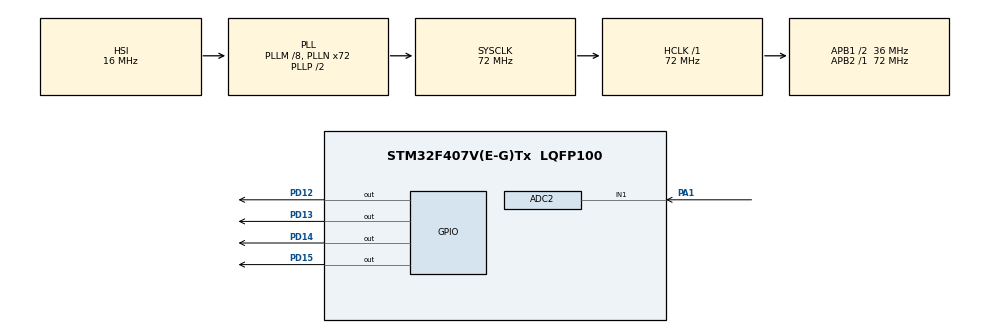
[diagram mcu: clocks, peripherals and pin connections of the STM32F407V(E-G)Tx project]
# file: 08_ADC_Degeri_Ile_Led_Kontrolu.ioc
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ADC2.Channel-0\#ChannelRegularConversion=ADC_CHANNEL_1
ADC2.ContinuousConvMode=ENABLE
ADC2.NbrOfConversionFlag=1
ADC2.Rank-0\#ChannelRegularConversion=1
ADC2.Resolution=ADC_RESOLUTION_8B
ADC2.SamplingTime-0\#ChannelRegularConversion=ADC_SAMPLETIME_112CYCLES
ADC2.ScanConvMode=ENABLE
Mcu.Family=STM32F4
Mcu.Name=STM32F407V(E-G)Tx
Mcu.Package=LQFP100
NVIC.PriorityGroup=NVIC_PRIORITYGROUP_4
PA1.Signal=ADCx_IN1
PD12.Signal=GPIO_Output
PD13.Signal=GPIO_Output
PD14.Signal=GPIO_Output
PD15.Signal=GPIO_Output
ProjectManager.HeapSize=0x200
ProjectManager.StackSize=0x400
ProjectManager.TargetToolchain=STM32CubeIDE
RCC.48MHZClocksFreq_Value=36000000
RCC.AHBFreq_Value=72000000
RCC.APB1CLKDivider=RCC_HCLK_DIV2
RCC.APB1Freq_Value=36000000
RCC.APB1TimFreq_Value=72000000
RCC.APB2Freq_Value=72000000
RCC.APB2TimFreq_Value=72000000
RCC.CortexFreq_Value=72000000
RCC.HCLKFreq_Value=72000000
RCC.HSE_VALUE=25000000
RCC.HSI_VALUE=16000000
RCC.LSE_VALUE=32768
RCC.PLLM=8
RCC.PLLN=72
RCC.SYSCLKFreq_VALUE=72000000
RCC.SYSCLKSource=RCC_SYSCLKSOURCE_PLLCLK
RCC.VCOOutputFreq_Value=144000000
SH.ADCx_IN1.0=ADC2_IN1,IN1
board=custom

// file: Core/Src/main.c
/* USER CODE BEGIN Header */
/**
  ******************************************************************************
  * @file           : main.c
  * @brief          : Main program body
  ******************************************************************************
  * @attention
  *
  * Copyright (c) 2025 STMicroelectronics.
  * All rights reserved.
  *
  * This software is licensed under terms that can be found in the LICENSE file
  * in the root directory of this software component.
  * If no LICENSE file comes with this software, it is provided AS-IS.
  *
  ******************************************************************************
  */
/* USER CODE END Header */
#include "main.h"

ADC_HandleTypeDef hadc2;

/* USER CODE BEGIN PV */
uint8_t analogValue=0;
/* USER CODE END PV */

void SystemClock_Config(void);
static void MX_GPIO_Init(void);
static void MX_ADC2_Init(void);

/* USER CODE BEGIN 0 */
uint8_t READ_ADC_Value(void)
{
	uint32_t adcVal=0;
	if(HAL_ADC_Start(&hadc2)==HAL_OK)
	{
	if(HAL_ADC_PollForConversion(&hadc2,1000)==HAL_OK)
	{
		adcVal=HAL_ADC_GetValue(&hadc2);
	}
	HAL_ADC_Stop(&hadc2);
}
	return adcVal;
}
/* USER CODE END 0 */

int main(void)
{

  /* MCU Configuration--------------------------------------------------------*/

  /* Reset of all peripherals, Initializes the Flash interface and the Systick. */
  HAL_Init();

  /* Configure the system clock */
  SystemClock_Config();

  /* Initialize all configured peripherals */
  MX_GPIO_Init();
  MX_ADC2_Init();

  /* Infinite loop */
  while (1)
  {

    /* USER CODE BEGIN 3 */
	  analogValue=READ_ADC_Value();
	  if(analogValue>=0 && analogValue<51)
	  {
		  HAL_GPIO_WritePin(GPIOD, GPIO_PIN_12|GPIO_PIN_13|GPIO_PIN_14|GPIO_PIN_15,GPIO_PIN_RESET);
	  }
	  else if (analogValue>=51 && analogValue<102)
	  {
		  HAL_GPIO_WritePin(GPIOD, GPIO_PIN_12,GPIO_PIN_SET);
		  HAL_GPIO_WritePin(GPIOD,GPIO_PIN_13|GPIO_PIN_14|GPIO_PIN_15,GPIO_PIN_RESET);
	  }
	  else if (analogValue>=102 && analogValue<153)
	 	  {
	 		  HAL_GPIO_WritePin(GPIOD, GPIO_PIN_12| GPIO_PIN_13,GPIO_PIN_SET);
	 		  HAL_GPIO_WritePin(GPIOD,GPIO_PIN_14|GPIO_PIN_15,GPIO_PIN_RESET);
	 	  }
	  else if (analogValue>=153 && analogValue<204)
	 	 	  {
	 	 		  HAL_GPIO_WritePin(GPIOD, GPIO_PIN_12 |GPIO_PIN_13|GPIO_PIN_14,GPIO_PIN_SET);
	 	 		  HAL_GPIO_WritePin(GPIOD,GPIO_PIN_15,GPIO_PIN_RESET);
	 	 	  }
	  else
	  {
		  HAL_GPIO_WritePin(GPIOD, GPIO_PIN_12|GPIO_PIN_13|GPIO_PIN_14|GPIO_PIN_15,GPIO_PIN_SET);
	  }

  }
  /* USER CODE END 3 */
}

void SystemClock_Config(void)
{
  RCC_OscInitTypeDef RCC_OscInitStruct = {0};
  RCC_ClkInitTypeDef RCC_ClkInitStruct = {0};

  /** Configure the main internal regulator output voltage
  */
  __HAL_RCC_PWR_CLK_ENABLE();
  __HAL_PWR_VOLTAGESCALING_CONFIG(PWR_REGULATOR_VOLTAGE_SCALE1);

  /** Initializes the RCC Oscillators according to the specified parameters
  * in the RCC_OscInitTypeDef structure.
  */
  RCC_OscInitStruct.OscillatorType = RCC_OSCILLATORTYPE_HSI;
  RCC_OscInitStruct.HSIState = RCC_HSI_ON;
  RCC_OscInitStruct.HSICalibrationValue = RCC_HSICALIBRATION_DEFAULT;
  RCC_OscInitStruct.PLL.PLLState = RCC_PLL_ON;
  RCC_OscInitStruct.PLL.PLLSource = RCC_PLLSOURCE_HSI;
  RCC_OscInitStruct.PLL.PLLM = 8;
  RCC_OscInitStruct.PLL.PLLN = 72;
  RCC_OscInitStruct.PLL.PLLP = RCC_PLLP_DIV2;
  RCC_OscInitStruct.PLL.PLLQ = 4;
  if (HAL_RCC_OscConfig(&RCC_OscInitStruct) != HAL_OK)
  {
    Error_Handler();
  }

  /** Initializes the CPU, AHB and APB buses clocks
  */
  RCC_ClkInitStruct.ClockType = RCC_CLOCKTYPE_HCLK|RCC_CLOCKTYPE_SYSCLK
                              |RCC_CLOCKTYPE_PCLK1|RCC_CLOCKTYPE_PCLK2;
  RCC_ClkInitStruct.SYSCLKSource = RCC_SYSCLKSOURCE_PLLCLK;
  RCC_ClkInitStruct.AHBCLKDivider = RCC_SYSCLK_DIV1;
  RCC_ClkInitStruct.APB1CLKDivider = RCC_HCLK_DIV2;
  RCC_ClkInitStruct.APB2CLKDivider = RCC_HCLK_DIV1;

  if (HAL_RCC_ClockConfig(&RCC_ClkInitStruct, FLASH_LATENCY_2) != HAL_OK)
  {
    Error_Handler();
  }
}

static void MX_ADC2_Init(void)
{

  ADC_ChannelConfTypeDef sConfig = {0};

  /** Configure the global features of the ADC (Clock, Resolution, Data Alignment and number of conversion)
  */
  hadc2.Instance = ADC2;
  hadc2.Init.ClockPrescaler = ADC_CLOCK_SYNC_PCLK_DIV2;
  hadc2.Init.Resolution = ADC_RESOLUTION_8B;
  hadc2.Init.ScanConvMode = ENABLE;
  hadc2.Init.ContinuousConvMode = ENABLE;
  hadc2.Init.DiscontinuousConvMode = DISABLE;
  hadc2.Init.ExternalTrigConvEdge = ADC_EXTERNALTRIGCONVEDGE_NONE;
  hadc2.Init.ExternalTrigConv = ADC_SOFTWARE_START;
  hadc2.Init.DataAlign = ADC_DATAALIGN_RIGHT;
  hadc2.Init.NbrOfConversion = 1;
  hadc2.Init.DMAContinuousRequests = DISABLE;
  hadc2.Init.EOCSelection = ADC_EOC_SINGLE_CONV;
  if (HAL_ADC_Init(&hadc2) != HAL_OK)
  {
    Error_Handler();
  }

  /** Configure for the selected ADC regular channel its corresponding rank in the sequencer and its sample time.
  */
  sConfig.Channel = ADC_CHANNEL_1;
  sConfig.Rank = 1;
  sConfig.SamplingTime = ADC_SAMPLETIME_112CYCLES;
  if (HAL_ADC_ConfigChannel(&hadc2, &sConfig) != HAL_OK)
  {
    Error_Handler();
  }

}

static void MX_GPIO_Init(void)
{
  GPIO_InitTypeDef GPIO_InitStruct = {0};

  /* GPIO Ports Clock Enable */
  __HAL_RCC_GPIOA_CLK_ENABLE();
  __HAL_RCC_GPIOD_CLK_ENABLE();

  /*Configure GPIO pin Output Level */
  HAL_GPIO_WritePin(GPIOD, GPIO_PIN_12|GPIO_PIN_13|GPIO_PIN_14|GPIO_PIN_15, GPIO_PIN_RESET);

  /*Configure GPIO pins : PD12 PD13 PD14 PD15 */
  GPIO_InitStruct.Pin = GPIO_PIN_12|GPIO_PIN_13|GPIO_PIN_14|GPIO_PIN_15;
  GPIO_InitStruct.Mode = GPIO_MODE_OUTPUT_PP;
  GPIO_InitStruct.Pull = GPIO_NOPULL;
  GPIO_InitStruct.Speed = GPIO_SPEED_FREQ_LOW;
  HAL_GPIO_Init(GPIOD, &GPIO_InitStruct);

}

void Error_Handler(void)
{
  __disable_irq();
  while (1)
  {
  }
}
